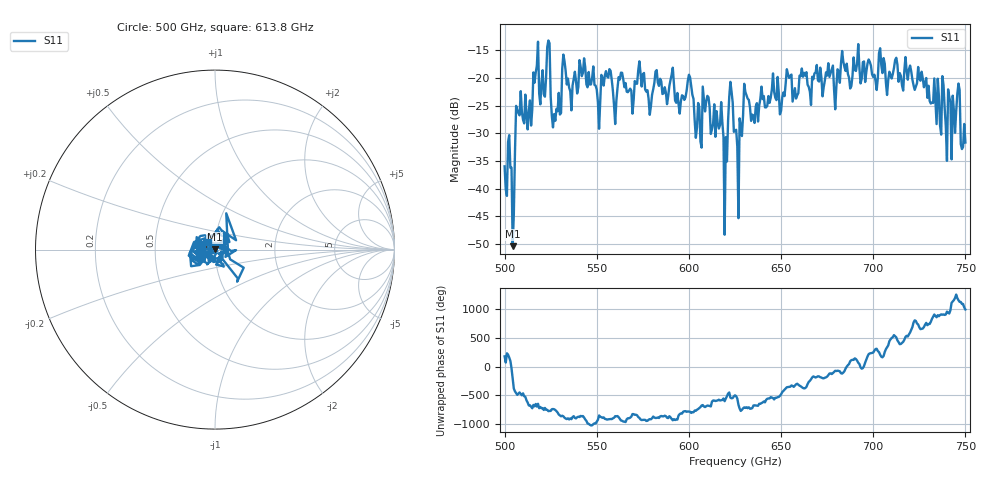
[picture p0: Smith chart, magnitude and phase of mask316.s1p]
!Created with skrf (http://scikit-rf.org).
# GHz S MA R 50.0
!freq magS11 angS11
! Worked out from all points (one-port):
!   401 points, 500 GHz to 750 GHz, reference 50 ohm
!   lowest |S11| = -50.4 dB at 504.4 GHz (marker M1), VSWR 1.01, Z = 49.7 + j0.121 ohm
!   |S11| at or under -10 dB: start of sweep to end of sweep
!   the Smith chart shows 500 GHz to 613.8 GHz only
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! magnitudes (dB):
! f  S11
! 500 GHz  -36.0
! 504.4 GHz  -50.4
! 507.5 GHz  -26.4
! 513.8 GHz  -24.1
! 516.9 GHz  -19.0
! 520.6 GHz  -18.6
! 523.8 GHz  -13.3
! 526.9 GHz  -26.5
! 531.2 GHz  -18.4
! 556.2 GHz  -19.9
! 560 GHz  -28.3
! 562.5 GHz  -20.3
! 593.8 GHz  -22.7
! 600.6 GHz  -19.9
! 605.6 GHz  -25.2
! 608.8 GHz  -26.1
! 617.5 GHz  -24.4
! 619.4 GHz  -48.3
! 622.5 GHz  -20.7
! 625 GHz  -29.6
! 627.5 GHz  -27.3
! 631.2 GHz  -23.2
! 656.2 GHz  -24.3
! 687.5 GHz  -21.9
! 718.8 GHz  -20.3
! 741.2 GHz  -23.5
! 745.6 GHz  -22.9
! 750 GHz  -31.7
